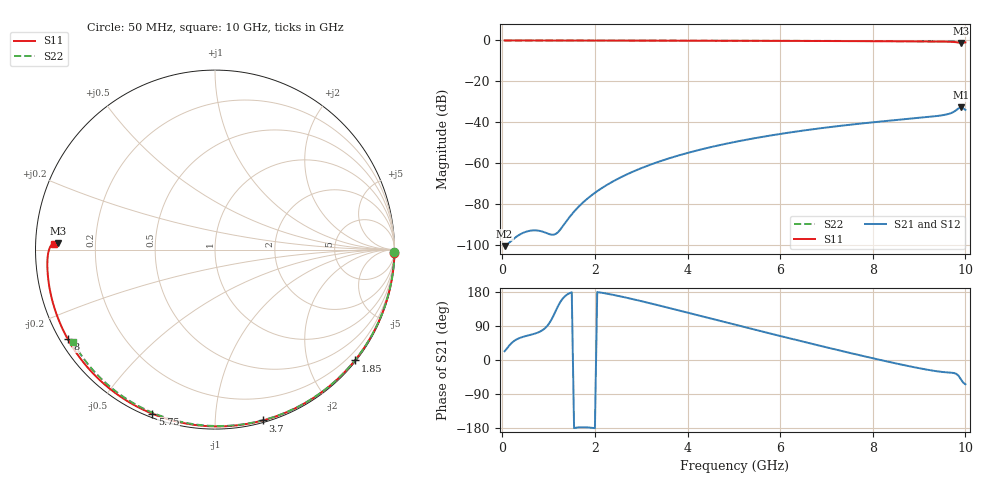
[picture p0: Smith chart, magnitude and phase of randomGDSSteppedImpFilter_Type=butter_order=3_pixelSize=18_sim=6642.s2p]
! freq	dB(S11)	phase(S11)	dB(S12)	phase(S12)
!  dB(S21)	phase(S21)	dB(S22)	phase(S22)
!S-par simulation data
#  GHz  S  DB  R 50
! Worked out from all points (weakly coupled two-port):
!   200 points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, 50 MHz to 10 GHz, reference 50 ohm
!   highest |S21| = -32.78 dB at 9.9 GHz (marker M1); lowest = -100.7 dB at 50 MHz (marker M2)
!   lowest |S11| = -1.2 dB at 9.9 GHz (marker M3), VSWR 14.93, Z = 3.35 + j1.04 ohm
!   |S11| at or under -10 dB: nowhere
!   |S22| runs from -0.5 to 0.0 dB; largest |S21 - S12| = 0
!   S11 on the Smith chart (normalised r, x): 50 MHz: open; 1.85 GHz: 0.03, -2.87; 3.7 GHz: 0.02, -1.32; 5.75 GHz: 0.02, -0.69; 8 GHz: 0.02, -0.28; 10 GHz: 0.06, +0.02
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0.05  -0.00 -1.1  -100.73 23.2  -100.73 23.2  -0.00 -0.9
0.85  -0.02 -17.9  -93.48 77.3  -93.48 77.3  -0.02 -14.4
1.7  -0.04 -35.3  -80.24 -177.5  -80.24 -177.5  -0.04 -28.6
1.75  -0.05 -36.4  -79.18 -177.4  -79.18 -177.4  -0.04 -29.4
1.85  -0.05 -38.4  -77.22 -178.0  -77.22 -178.0  -0.04 -31.1
2.15  -0.06 -44.4  -72.27 177.4  -72.27 177.4  -0.05 -36.0
2.5  -0.07 -51.3  -67.70 169.2  -67.70 169.2  -0.05 -41.6
2.9  -0.08 -59.1  -63.47 158.3  -63.47 158.3  -0.06 -48.0
3.4  -0.09 -68.7  -59.20 143.4  -59.20 143.4  -0.07 -55.9
3.7  -0.10 -74.3  -57.03 134.3  -57.03 134.3  -0.08 -60.5
4.35  -0.12 -86.3  -53.04 114.1  -53.04 114.1  -0.10 -70.4
5.05  -0.15 -98.7  -49.57 92.5  -49.57 92.5  -0.12 -80.7
5.75  -0.19 -110.9  -46.69 71.0  -46.69 71.0  -0.15 -90.6
6.7  -0.25 -127.0  -43.50 42.3  -43.50 42.3  -0.20 -103.7
8  -0.36 -148.8  -40.08 4.6  -40.08 4.6  -0.29 -121.0
8.35  -0.39 -154.8  -39.30 -5.0  -39.30 -5.0  -0.32 -125.6
9  -0.47 -166.2  -37.92 -21.6  -37.92 -21.6  -0.38 -134.0
9.55  -0.58 -176.6  -36.44 -32.2  -36.44 -32.2  -0.44 -141.1
9.7  -0.67 -179.8  -35.49 -33.6  -35.49 -33.6  -0.46 -143.1
9.8  -0.85 177.9  -34.16 -36.3  -34.16 -36.3  -0.47 -144.4
9.9  -1.17 177.6  -32.78 -50.3  -32.78 -50.3  -0.48 -145.7
10  -0.96 177.9  -33.97 -64.1  -33.97 -64.1  -0.49 -147.0
